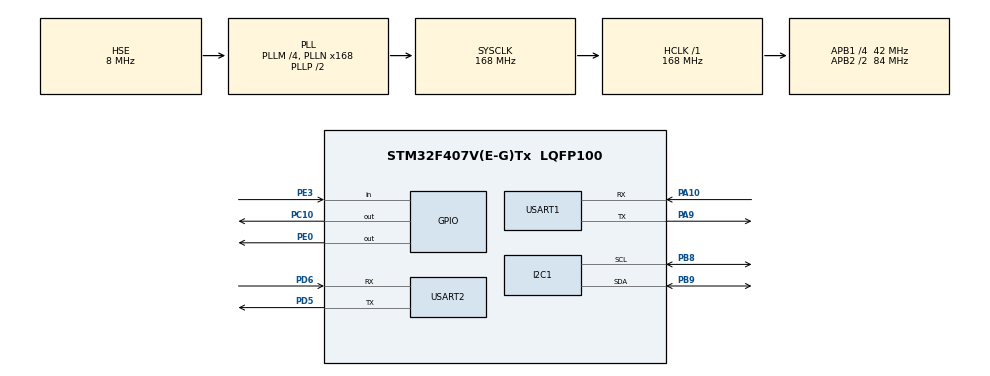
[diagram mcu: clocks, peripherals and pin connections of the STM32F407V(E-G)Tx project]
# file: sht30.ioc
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Mcu.Family=STM32F4
Mcu.Name=STM32F407V(E-G)Tx
Mcu.Package=LQFP100
NVIC.PriorityGroup=NVIC_PRIORITYGROUP_4
NVIC.USART1_IRQn=true\:0\:0\:false\:false\:true\:true\:true
NVIC.USART2_IRQn=true\:0\:0\:false\:false\:true\:true\:true
PA10.Mode=Asynchronous
PA10.Signal=USART1_RX
PA9.Mode=Asynchronous
PA9.Signal=USART1_TX
PB8.Mode=I2C
PB8.Signal=I2C1_SCL
PB9.Mode=I2C
PB9.Signal=I2C1_SDA
PC10.Signal=GPIO_Output
PD5.Mode=Asynchronous
PD5.Signal=USART2_TX
PD6.Mode=Asynchronous
PD6.Signal=USART2_RX
PE0.Signal=GPIO_Output
PE3.Signal=GPIO_Input
PH0-OSC_IN.Mode=HSE-External-Oscillator
PH0-OSC_IN.Signal=RCC_OSC_IN
PH1-OSC_OUT.Mode=HSE-External-Oscillator
PH1-OSC_OUT.Signal=RCC_OSC_OUT
ProjectManager.HeapSize=0x200
ProjectManager.StackSize=0x400
ProjectManager.TargetToolchain=MDK-ARM V5
RCC.48MHZClocksFreq_Value=84000000
RCC.AHBFreq_Value=168000000
RCC.APB1CLKDivider=RCC_HCLK_DIV4
RCC.APB1Freq_Value=42000000
RCC.APB1TimFreq_Value=84000000
RCC.APB2CLKDivider=RCC_HCLK_DIV2
RCC.APB2Freq_Value=84000000
RCC.APB2TimFreq_Value=168000000
RCC.CortexFreq_Value=168000000
RCC.HCLKFreq_Value=168000000
RCC.HSE_VALUE=8000000
RCC.HSI_VALUE=16000000
RCC.LSE_VALUE=32768
RCC.PLLM=4
RCC.PLLN=168
RCC.PLLSourceVirtual=RCC_PLLSOURCE_HSE
RCC.SYSCLKFreq_VALUE=168000000
RCC.SYSCLKSource=RCC_SYSCLKSOURCE_PLLCLK
RCC.VCOOutputFreq_Value=336000000
USART1.VirtualMode=VM_ASYNC
USART2.VirtualMode=VM_ASYNC
board=custom

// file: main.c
/* USER CODE BEGIN Header */
/**
  ******************************************************************************
  * @file           : main.c
  * @brief          : Main program body
  ******************************************************************************
  * @attention
  *
  * <h2><center>&copy; Copyright (c) 2022 STMicroelectronics.
  * All rights reserved.</center></h2>
  *
  * This software component is licensed by ST under BSD 3-Clause license,
  * the "License"; You may not use this file except in compliance with the
  * License. You may obtain a copy of the License at:
  *                        opensource.org/licenses/BSD-3-Clause
  *
  ******************************************************************************
  */
/* USER CODE END Header */
#include "main.h"
#include "cJSON.h"
#include <stdio.h>
#include "sht.h"
#include <stdbool.h>
#include <stdint.h>
#include <string.h>
#include <stdlib.h>

I2C_HandleTypeDef hi2c1;

UART_HandleTypeDef huart1;
UART_HandleTypeDef huart2;

void SystemClock_Config(void);
static void MX_GPIO_Init(void);
static void MX_I2C1_Init(void);
static void MX_USART2_UART_Init(void);
static void MX_USART1_UART_Init(void);
/* USER CODE BEGIN PFP */
uint8_t u8_TxBuff[] = "Nhiet do la: \n";
float nhiet_do = 30.25;
/* USER CODE END PFP */

/* USER CODE BEGIN 0 */
// Truyen = ham printf => debug => PC
#ifdef __GNUC__
     #define PUTCHAR_PROTOTYPE int __io__putchar(int ch)
#else
		 #define PUTCHAR_PROTOTYPE int fputc(int ch, FILE *f)
#endif
PUTCHAR_PROTOTYPE
{
	 HAL_UART_Transmit(&huart2, (uint8_t *)&ch,1,0xFFFF);
	 return ch;
}
/* USER CODE END 0 */
void SendData(float ND, float DA);
void HAL_UART_RxCpltCallback(UART_HandleTypeDef *huart);
void Received(void);
void clearbufferEnd(void);

int i = 0;
float  ND ;
float DA ;

uint8_t rx_data;
//float rx_data;
unsigned int rx_index = 0;

char Str_ND[100];
char Str_DA[100];
char JSON[100];
char rx_buffer[200];
int main(void)
{

  /* MCU Configuration--------------------------------------------------------*/

  /* Reset of all peripherals, Initializes the Flash interface and the Systick. */
  HAL_Init();

  /* Configure the system clock */
  SystemClock_Config();

  /* Initialize all configured peripherals */
  MX_GPIO_Init();
  MX_I2C1_Init();
  MX_USART2_UART_Init();
  MX_USART1_UART_Init();
  /* USER CODE BEGIN 2 */
	HAL_UART_Receive_IT(&huart1,&rx_data,1);

sht3x_handle_t handle = {
    .i2c_handle = &hi2c1,
    .device_address = SHT3X_I2C_DEVICE_ADDRESS_ADDR_PIN_LOW
};
  /* USER CODE END 2 */
if (!sht3x_init(&handle)) {
    printf("SHT3x access failed.\n\r");
}
  /* Infinite loop */
  while (1)
  {
sht3x_read_temperature_and_humidity(&handle, &ND, &DA);
    /* USER CODE BEGIN 3 */
 SendData(ND, DA);
		HAL_Delay(10000);
    /* USER CODE BEGIN 3 */
  }
  /* USER CODE END 3 */
}
void HAL_UART_RxCpltCallback(UART_HandleTypeDef *huart)
{
	if(huart -> Instance == USART1)
	{
		// chuong trinh doc du lieu => mang data
		Received();
		HAL_UART_Receive_IT(&huart1,&rx_data,1);
	}
}
void Received(void)
{
	if(rx_data != '\n')
	{
		rx_buffer[rx_index++] = rx_data;
	}
	else
	{
		clearbufferEnd();
	}
}
void clearbufferEnd(void)
{
	rx_index = 0;
	for(int i = 0 ; i < 200 ; i++)
	{
		rx_buffer[i] = 0;
	}
}
void SendData(float ND, float DA)
{
	for(int i = 0 ; i < 100 ; i++)
	{
		JSON[i] = 0;
		Str_ND[i] = 0;
		Str_DA[i] = 0;
	}
	sprintf(Str_ND, "%.2f", ND);
	sprintf(Str_DA, "%.2f", DA);

	strcat(JSON,"{\"ND\":\"");
	//strcat(JSON,"[\"ND\":\"");
	//strcat(JSON,"\"ND\":\"");
	strcat(JSON,Str_ND);
	strcat(JSON,"\",");
	//strcat(JSON,",");

	strcat(JSON,"\"DA\":\"");
	strcat(JSON,Str_DA);
	strcat(JSON,"\"}\n");
	//strcat(JSON,"\"]\n");
	//strcat(JSON,"\"\n");

	printf("%s\n",JSON);
	// send cong uart1 => esp8266
	HAL_UART_Transmit(&huart1,(uint8_t *)&JSON,strlen(JSON),1000);
}
void SystemClock_Config(void)
{
  RCC_OscInitTypeDef RCC_OscInitStruct = {0};
  RCC_ClkInitTypeDef RCC_ClkInitStruct = {0};

  /** Configure the main internal regulator output voltage
  */
  __HAL_RCC_PWR_CLK_ENABLE();
  __HAL_PWR_VOLTAGESCALING_CONFIG(PWR_REGULATOR_VOLTAGE_SCALE1);
  /** Initializes the RCC Oscillators according to the specified parameters
  * in the RCC_OscInitTypeDef structure.
  */
  RCC_OscInitStruct.OscillatorType = RCC_OSCILLATORTYPE_HSE;
  RCC_OscInitStruct.HSEState = RCC_HSE_ON;
  RCC_OscInitStruct.PLL.PLLState = RCC_PLL_ON;
  RCC_OscInitStruct.PLL.PLLSource = RCC_PLLSOURCE_HSE;
  RCC_OscInitStruct.PLL.PLLM = 4;
  RCC_OscInitStruct.PLL.PLLN = 168;
  RCC_OscInitStruct.PLL.PLLP = RCC_PLLP_DIV2;
  RCC_OscInitStruct.PLL.PLLQ = 4;
  if (HAL_RCC_OscConfig(&RCC_OscInitStruct) != HAL_OK)
  {
    Error_Handler();
  }
  /** Initializes the CPU, AHB and APB buses clocks
  */
  RCC_ClkInitStruct.ClockType = RCC_CLOCKTYPE_HCLK|RCC_CLOCKTYPE_SYSCLK
                              |RCC_CLOCKTYPE_PCLK1|RCC_CLOCKTYPE_PCLK2;
  RCC_ClkInitStruct.SYSCLKSource = RCC_SYSCLKSOURCE_PLLCLK;
  RCC_ClkInitStruct.AHBCLKDivider = RCC_SYSCLK_DIV1;
  RCC_ClkInitStruct.APB1CLKDivider = RCC_HCLK_DIV4;
  RCC_ClkInitStruct.APB2CLKDivider = RCC_HCLK_DIV2;

  if (HAL_RCC_ClockConfig(&RCC_ClkInitStruct, FLASH_LATENCY_5) != HAL_OK)
  {
    Error_Handler();
  }
}

static void MX_I2C1_Init(void)
{

  hi2c1.Instance = I2C1;
  hi2c1.Init.ClockSpeed = 100000;
  hi2c1.Init.DutyCycle = I2C_DUTYCYCLE_2;
  hi2c1.Init.OwnAddress1 = 0;
  hi2c1.Init.AddressingMode = I2C_ADDRESSINGMODE_7BIT;
  hi2c1.Init.DualAddressMode = I2C_DUALADDRESS_DISABLE;
  hi2c1.Init.OwnAddress2 = 0;
  hi2c1.Init.GeneralCallMode = I2C_GENERALCALL_DISABLE;
  hi2c1.Init.NoStretchMode = I2C_NOSTRETCH_DISABLE;
  if (HAL_I2C_Init(&hi2c1) != HAL_OK)
  {
    Error_Handler();
  }

}

static void MX_USART1_UART_Init(void)
{

  huart1.Instance = USART1;
  huart1.Init.BaudRate = 115200;
  huart1.Init.WordLength = UART_WORDLENGTH_8B;
  huart1.Init.StopBits = UART_STOPBITS_1;
  huart1.Init.Parity = UART_PARITY_NONE;
  huart1.Init.Mode = UART_MODE_TX_RX;
  huart1.Init.HwFlowCtl = UART_HWCONTROL_NONE;
  huart1.Init.OverSampling = UART_OVERSAMPLING_16;
  if (HAL_UART_Init(&huart1) != HAL_OK)
  {
    Error_Handler();
  }

}

static void MX_USART2_UART_Init(void)
{

  huart2.Instance = USART2;
  huart2.Init.BaudRate = 115200;
  huart2.Init.WordLength = UART_WORDLENGTH_8B;
  huart2.Init.StopBits = UART_STOPBITS_1;
  huart2.Init.Parity = UART_PARITY_NONE;
  huart2.Init.Mode = UART_MODE_TX_RX;
  huart2.Init.HwFlowCtl = UART_HWCONTROL_NONE;
  huart2.Init.OverSampling = UART_OVERSAMPLING_16;
  if (HAL_UART_Init(&huart2) != HAL_OK)
  {
    Error_Handler();
  }

}

static void MX_GPIO_Init(void)
{
  GPIO_InitTypeDef GPIO_InitStruct = {0};

  /* GPIO Ports Clock Enable */
  __HAL_RCC_GPIOE_CLK_ENABLE();
  __HAL_RCC_GPIOH_CLK_ENABLE();
  __HAL_RCC_GPIOA_CLK_ENABLE();
  __HAL_RCC_GPIOC_CLK_ENABLE();
  __HAL_RCC_GPIOD_CLK_ENABLE();
  __HAL_RCC_GPIOB_CLK_ENABLE();

  /*Configure GPIO pin Output Level */
  HAL_GPIO_WritePin(GPIOC, GPIO_PIN_10, GPIO_PIN_RESET);

  /*Configure GPIO pin Output Level */
  HAL_GPIO_WritePin(GPIOE, GPIO_PIN_0, GPIO_PIN_RESET);

  /*Configure GPIO pin : PE3 */
  GPIO_InitStruct.Pin = GPIO_PIN_3;
  GPIO_InitStruct.Mode = GPIO_MODE_INPUT;
  GPIO_InitStruct.Pull = GPIO_NOPULL;
  HAL_GPIO_Init(GPIOE, &GPIO_InitStruct);

  /*Configure GPIO pin : PC10 */
  GPIO_InitStruct.Pin = GPIO_PIN_10;
  GPIO_InitStruct.Mode = GPIO_MODE_OUTPUT_PP;
  GPIO_InitStruct.Pull = GPIO_NOPULL;
  GPIO_InitStruct.Speed = GPIO_SPEED_FREQ_LOW;
  HAL_GPIO_Init(GPIOC, &GPIO_InitStruct);

  /*Configure GPIO pin : PE0 */
  GPIO_InitStruct.Pin = GPIO_PIN_0;
  GPIO_InitStruct.Mode = GPIO_MODE_OUTPUT_PP;
  GPIO_InitStruct.Pull = GPIO_NOPULL;
  GPIO_InitStruct.Speed = GPIO_SPEED_FREQ_LOW;
  HAL_GPIO_Init(GPIOE, &GPIO_InitStruct);

}

void Error_Handler(void)
{
}

/************************ (C) COPYRIGHT STMicroelectronics *****END OF FILE****/
